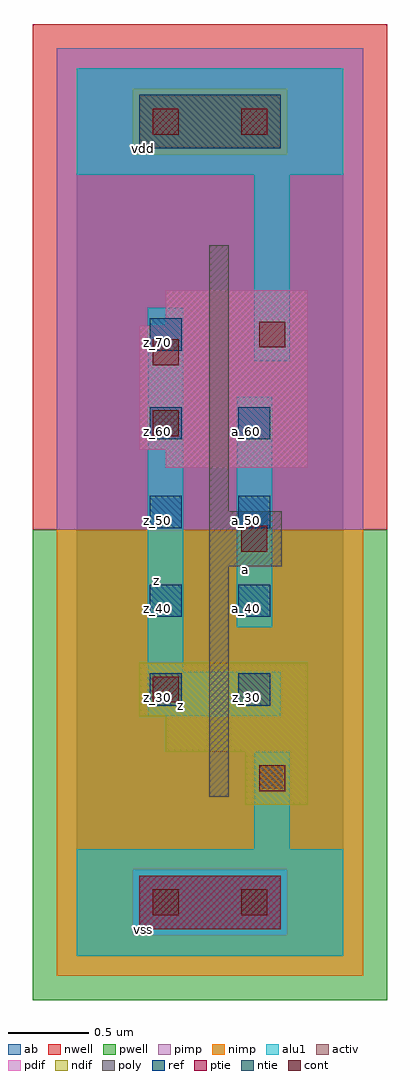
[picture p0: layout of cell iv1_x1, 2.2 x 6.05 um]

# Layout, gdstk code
import gdstk
lib = gdstk.Library(unit=1e-6, precision=2.5e-09)
def R(c, l, rs):  # rectangles x0, y0, x1, y1
    for r in rs: c.add(gdstk.rectangle(r[:2], r[2:], *l))
def A(c, l, x, y, w, h, nx, ny, dx, dy):  # array of equal rectangles
    R(c, l, [(x+i*dx, y+j*dy, x+i*dx+w, y+j*dy+h) for i in range(nx) for j in range(ny)])
ndif = (3, 0)
pdif = (4, 0)
ntie = (5, 0)
ptie = (6, 0)
ref = (24, 0)
cont = (25, 0)
pwell = (41, 0)
nwell = (42, 0)
activ = (43, 0)
pimp = (44, 0)
nimp = (45, 0)
poly = (46, 0)
alu1 = (49, 0)
ab = (63, 0)

iv1_x1 = lib.new_cell('iv1_x1')
R(iv1_x1, ndif, [(1.045,0.935,1.43,1.265), (0.55,1.265,1.43,1.485), (0.385,1.485,1.43,1.815)])
R(iv1_x1, pdif, [(0.55,3.025,1.43,3.135), (0.385,3.135,1.43,3.905), (0.55,3.905,1.43,4.125)])
R(iv1_x1, ntie, [(0.385,5.005,1.265,5.335)])
R(iv1_x1, ptie, [(0.385,0.165,1.265,0.495)])
A(iv1_x1, ref, 0.45, 1.55, 0.2, 0.2, 1, 5, 0, 0.55)
A(iv1_x1, ref, 1, 1.55, 0.2, 0.2, 1, 4, 0, 0.55)
R(iv1_x1, cont, [(0.47,0.25,0.63,0.41), (1.02,0.25,1.18,0.41), (1.13,1.02,1.29,1.18), (0.47,1.57,0.63,1.73), (1.02,2.505,1.18,2.665), (0.47,3.22,0.63,3.38), (0.47,3.66,0.63,3.82), (1.13,3.77,1.29,3.93), (0.47,5.09,0.63,5.25), (1.02,5.09,1.18,5.25)])
R(iv1_x1, pwell, [(-0.275,-0.275,1.925,2.64)])
R(iv1_x1, nwell, [(-0.275,2.64,1.925,5.775)])
R(iv1_x1, activ, [(0.385,0.165,1.265,0.495), (1.045,0.935,1.43,1.265), (0.55,1.265,1.43,1.485), (0.385,1.485,1.43,1.815), (0.55,3.025,1.43,3.135), (0.385,3.135,1.43,3.905), (0.55,3.905,1.43,4.125), (0.385,5.005,1.265,5.335)])
R(iv1_x1, pimp, [(0.345,0.125,1.305,0.535), (-0.125,2.64,1.775,4.965), (-0.125,4.965,0.345,5.375), (1.305,4.965,1.775,5.375), (-0.125,5.375,1.775,5.625)])
R(iv1_x1, nimp, [(-0.125,-0.125,1.775,0.125), (-0.125,0.125,0.345,0.535), (1.305,0.125,1.775,0.535), (-0.125,0.535,1.775,2.64), (0.345,4.965,1.305,5.375)])
R(iv1_x1, poly, [(0.82,0.985,0.94,2.415), (0.82,2.415,1.27,2.755), (0.82,2.755,0.94,4.405)])
R(iv1_x1, alu1, [(0,0,1.65,0.66), (1.1,0.66,1.32,1.265), (0.44,1.485,1.265,1.76), (0.44,1.76,0.66,4.015), (0.99,2.035,1.21,3.465), (1.1,3.685,1.32,4.84), (0,4.84,1.65,5.5)])
R(iv1_x1, ab, [(0,0,1.65,5.5)])
iv1_x1.add(gdstk.Label('vss', (0.4125,0.165), layer=49, texttype=0))
iv1_x1.add(gdstk.Label('z', (0.645,1.5525), layer=49, texttype=0))
iv1_x1.add(gdstk.Label('a', (1.045,2.3925), layer=49, texttype=0))
iv1_x1.add(gdstk.Label('z', (0.495,2.3225), layer=49, texttype=0))
iv1_x1.add(gdstk.Label('vdd', (0.4125,5.005), layer=49, texttype=0))
iv1_x1.add(gdstk.Label('z_30', (0.5,1.6), layer=24, texttype=0))
iv1_x1.add(gdstk.Label('z_30', (1.05,1.6), layer=24, texttype=0))
iv1_x1.add(gdstk.Label('z_50', (0.5,2.7), layer=24, texttype=0))
iv1_x1.add(gdstk.Label('z_40', (0.5,2.15), layer=24, texttype=0))
iv1_x1.add(gdstk.Label('z_60', (0.5,3.25), layer=24, texttype=0))
iv1_x1.add(gdstk.Label('a_50', (1.05,2.7), layer=24, texttype=0))
iv1_x1.add(gdstk.Label('a_60', (1.05,3.25), layer=24, texttype=0))
iv1_x1.add(gdstk.Label('z_70', (0.5,3.8), layer=24, texttype=0))
iv1_x1.add(gdstk.Label('a_40', (1.05,2.15), layer=24, texttype=0))

lib.write_gds('iv1_x1.gds')
